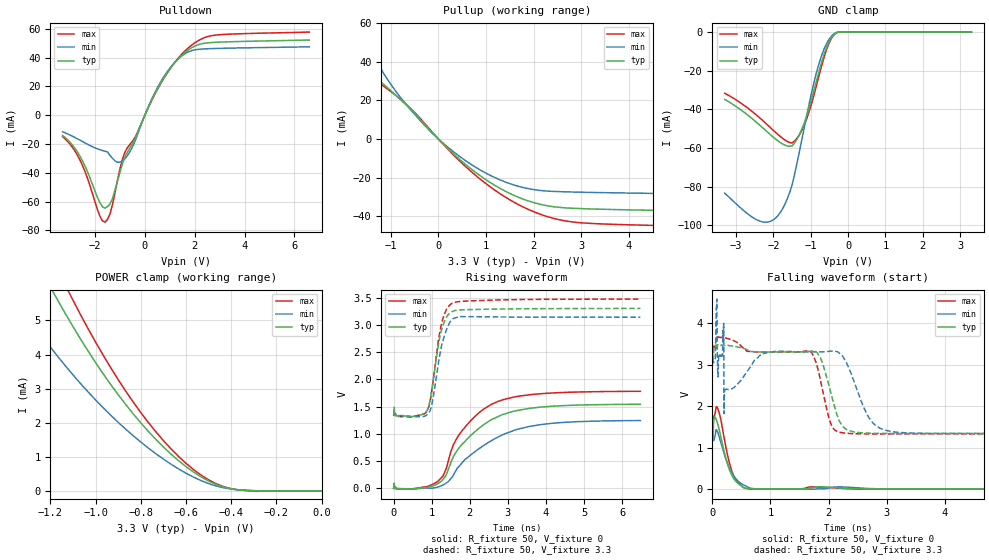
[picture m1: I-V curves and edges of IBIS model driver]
| IBIS file io_buf_50ps_tr10ps.ibs created by PYS2IBIS3
| Missouri S&T EMC Lab
[IBIS Ver] 5.1
[File Name] io_buf_50ps_tr10ps.ibs
[File Rev] 0.1
[Date] December 6, 2025
[Source] Netlist generated by Grok
[Notes] Parameter selection; sim_time=6.479e-09, tr=tf=1.000e-11.
[Disclaimer] This buffer is not a real buffer. It is a imaginay buffer. What
 is a imaginay buffer? An imagnary buffer is a buffer that is...
[Copyright] Missouri S&T EMC Lab
[Component] MCM Driver 1
[Manufacturer] MegaFLOPS Inc.
[Package]
| variable   typ   min   max
R_pkg 0 NA NA
L_pkg 0H NA NA
C_pkg 0F NA NA
[Pin]  signal_name   model_name   R_pin   L_pin   C_pin
vss   vss   GND
vdd   vdd   POWER
| oe oe dummy
| in in dummy
out   out   driver
| End of Component
| Models and submodels in the file (1): driver (I/O)
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[Model] driver
Model_type I/O
Polarity Non-Inverting
Enable Active-High
Vinl  = 0.8V
Vinh  = 2V
C_comp 1.2000pF 1.0000pF 1.4000pF
[Temperature Range] 27.0000 100.0000 0.0000
[Voltage Range] 3.3000V 3.0000V 3.6000V
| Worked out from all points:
|   slope of the pulldown table from 0 to 0.495 V, typ, clamps not added: 27.4 ohm
|   slope of the pullup table from 0 to 0.495 V, typ, clamps not added: 42.7 ohm
|   GND clamp passes 1 mA (typ) near -0.36 V on its own axis
|   POWER clamp passes 1 mA (typ) near -0.65 V on its own axis
|   rising waveform, R_fixture 50, V_fixture 0: 20-80 % time 1.09ns typ, 1.33ns min, 930ps max; typ from 0 V to 1.54 V
|   rising waveform, R_fixture 50, V_fixture 3.3: 20-80 % time 274ps typ, 277ps min, 270ps max; typ from 1.34 V to 3.3 V
|   falling waveform, R_fixture 50, V_fixture 0: 20-80 % time 195ps typ, 231ps min, 180ps max; typ from 1.54 V to 0 V
|   falling waveform, R_fixture 50, V_fixture 3.3: 20-80 % time 237ps typ, 315ps min, 211ps max; typ from 3.3 V to 1.34 V
[Pulldown]
| Voltage   I(typ)   I(min)   I(max)
-3.3V     -14.11mA   -11.49mA   -14.92mA
-2.6V     -28.62mA   -17.33mA   -31.26mA
-1.8V     -60.89mA   -24.01mA   -70.36mA
-1.6V     -64.58mA   -24.99mA   -74.37mA
-1.3V     -57.87mA   -29.98mA   -62.22mA
-1V       -39.62mA   -32.58mA   -37.38mA
-800mV    -29.26mA   -30.26mA   -25.73mA
-400mV    -16.61mA   -18.23mA   -15.56mA
600mV     21.34mA    22.16mA    20.91mA
1.7V      44.86mA    43.6mA     46.12mA
2.8V      50.65mA    46.37mA    55.62mA
6.6V      52.2mA     47.56mA    57.78mA
[Pullup]
| Voltage   I(typ)   I(min)   I(max)
-3.3V     52.9mA     288mA      32.03mA
-2.9V     57.26mA    200.3mA    40.86mA
-2.5V     55.97mA    137.1mA    43.93mA
-2.2V     50.87mA    101.5mA    42.91mA
-1.7V     40.21mA    61.42mA    36.21mA
-1V       25.06mA    28.32mA    24.59mA
-200mV    5.278mA    4.74mA     5.561mA
600mV     -13.78mA   -11.72mA   -14.92mA
1.5V      -28.2mA    -23.1mA    -31.5mA
2.2V      -34.15mA   -26.79mA   -39.49mA
2.9V      -35.95mA   -27.49mA   -43.18mA
6.6V      -37.71mA   -28.71mA   -45.68mA
[GND Clamp]
| Voltage   I(typ)   I(min)   I(max)
-3.3V     -34.82mA   -83.32mA   -31.62mA
-2.367V   -48.08mA   -97.77mA   -44.32mA
-2.1V     -52.69mA   -98.1mA    -49.02mA
-1.833V   -56.87mA   -93.93mA   -53.7mA
-1.633V   -58.86mA   -86.63mA   -56.5mA
-1.5V     -58.92mA   -79.34mA   -57.37mA
-1.233V   -50.13mA   -55.35mA   -50.74mA
-1.033V   -38.66mA   -36.46mA   -40.67mA
-766.7mV  -19.68mA   -15.62mA   -21.83mA
-566.7mV  -7.562mA   -5.625mA   -8.589mA
-366.7mV  -1.04mA    -747.4uA   -1.186mA
3.3V      806.1pA    7.276uA    187.3pA
[POWER Clamp]
| Voltage   I(typ)   I(min)   I(max)
-3.3V     69.1mA     63.7mA     73.07mA
-1.367V   8.162mA    5.773mA    9.455mA
-1.2V     5.986mA    4.223mA    6.947mA
-1.167V   5.586mA    3.941mA    6.483mA
-1.133V   5.198mA    3.669mA    6.033mA
-1.1V     4.823mA    3.406mA    5.596mA
-966.7mV  3.44mA     2.442mA    3.986mA
-833.3mV  2.26mA     1.618mA    2.607mA
-700mV    1.29mA     934.1uA    1.477mA
-566.7mV  553.4uA    405uA      627uA
-400mV    62.27uA    53.24uA    65.79uA
0V        806.1pA    6.115nA    316.9pA
[Ramp]
| variable   typ   min   max
dV/dt_r 0.9252/1.093n  0.7464/1.33n 1.0680/0.9312n
dV/dt_f 1.1772/0.2367n 1.0914/0.3121n 1.2714/0.2043n
R_load = 50
[Rising Waveform]
R_fixture = 50
V_fixture = 0
|time   V(typ)   V(min)   V(max)
0s        7.302nV    59.67nV    2.904nV
13ps      94.3mV     22.45mV    26.81mV
467ps     -14.86mV   -11.74mV   -11.41mV
1.167ns   88.31mV    25.44mV    130.4mV
1.304ns   169.6mV    61.56mV    237.2mV
1.557ns   562.5mV    227.4mV    782mV
1.751ns   772.4mV    433.3mV    1.016V
2.737ns   1.315V     939mV      1.594V
3.852ns   1.489V     1.169V     1.735V
6.479ns   1.542V     1.244V     1.78V
[Rising Waveform]
R_fixture = 50
V_fixture = 3.3
|time   V(typ)   V(min)   V(max)
0s        1.338V     1.342V     1.329V
13ps      1.489V     1.38V      1.368V
25.9ps    1.356V     1.385V     1.374V
51.9ps    1.33V      1.371V     1.357V
882ps     1.434V     1.35V      1.424V
992.3ps   1.761V     1.509V     1.744V
1.239ns   2.853V     2.547V     2.97V
1.362ns   3.108V     2.857V     3.249V
1.518ns   3.24V      3.082V     3.389V
6.479ns   3.3V       3.139V     3.472V
[Falling Waveform]
R_fixture = 50
V_fixture = 0
|time   V(typ)   V(min)   V(max)
0s        1.545V     1.247V     1.783V
13ps      1.229V     1.201V     1.727V
19.5ps    1.553V     1.168V     1.692V
32.4ps    1.739V     1.206V     1.737V
64.9ps    1.682V     1.431V     1.973V
90.8ps    1.578V     1.371V     1.944V
233.5ps   737.6mV    717.9mV    1.004V
337.2ps   330mV      388.3mV    426.8mV
577.2ps   17.83mV    72.82mV    19.94mV
6.479ns   -5.498uV   1.844uV    -3.86uV
[Falling Waveform]
R_fixture = 50
V_fixture = 3.3
|time   V(typ)   V(min)   V(max)
0s        3.3V       3.139V     3.472V
51.9ps    3.448V     3.159V     3.49V
77.8ps    3.469V     4.577V     3.666V
97.3ps    3.468V     2.701V     3.663V
194.6ps   3.472V     3.991V     3.649V
201.1ps   3.466V     1.816V     3.648V
1.693ns   3.323V     3.302V     3.306V
2.043ns   2.298V     3.325V     1.56V
2.97ns    1.34V      1.421V     1.329V
6.479ns   1.338V     1.342V     1.329V
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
